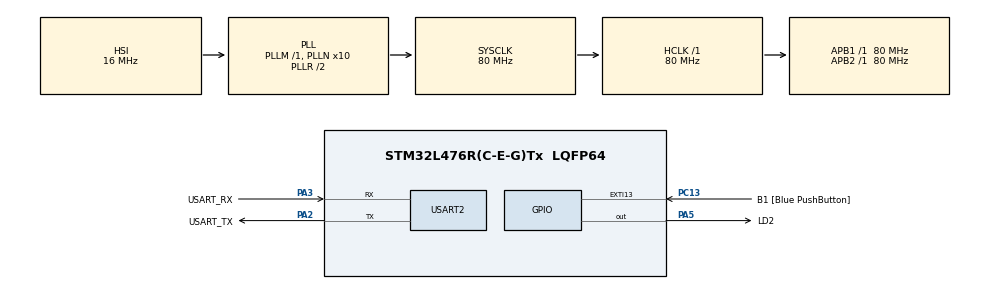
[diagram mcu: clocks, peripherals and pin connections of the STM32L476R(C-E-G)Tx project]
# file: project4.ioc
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Mcu.Family=STM32L4
Mcu.Name=STM32L476R(C-E-G)Tx
Mcu.Package=LQFP64
NVIC.PriorityGroup=NVIC_PRIORITYGROUP_4
PA13\ (JTMS-SWDIO).GPIO_Label=TMS
PA13\ (JTMS-SWDIO).Mode=Serial_Wire
PA13\ (JTMS-SWDIO).Signal=SYS_JTMS-SWDIO
PA14\ (JTCK-SWCLK).GPIO_Label=TCK
PA14\ (JTCK-SWCLK).Mode=Serial_Wire
PA14\ (JTCK-SWCLK).Signal=SYS_JTCK-SWCLK
PA2.GPIO_Label=USART_TX
PA2.GPIO_Mode=GPIO_MODE_AF_PP
PA2.GPIO_PuPd=GPIO_NOPULL
PA2.GPIO_Speed=GPIO_SPEED_FREQ_VERY_HIGH
PA2.Mode=Asynchronous
PA2.Signal=USART2_TX
PA3.GPIO_Label=USART_RX
PA3.GPIO_Mode=GPIO_MODE_AF_PP
PA3.GPIO_PuPd=GPIO_NOPULL
PA3.GPIO_Speed=GPIO_SPEED_FREQ_VERY_HIGH
PA3.Mode=Asynchronous
PA3.Signal=USART2_RX
PA5.GPIO_Label=LD2
PA5.Signal=GPIO_Output
PB3\ (JTDO-TRACESWO).GPIO_Label=SWO
PB3\ (JTDO-TRACESWO).Signal=SYS_JTDO-SWO
PC13.GPIO_Label=B1 [Blue PushButton]
PC13.GPIO_ModeDefaultEXTI=GPIO_MODE_IT_FALLING
PC13.GPIO_PuPd=GPIO_NOPULL
PC13.Signal=GPXTI13
PC14-OSC32_IN\ (PC14).Mode=LSE-External-Oscillator
PC14-OSC32_IN\ (PC14).Signal=RCC_OSC32_IN
PC15-OSC32_OUT\ (PC15).Mode=LSE-External-Oscillator
PC15-OSC32_OUT\ (PC15).Signal=RCC_OSC32_OUT
PH0-OSC_IN\ (PH0).Signal=RCC_OSC_IN
PH1-OSC_OUT\ (PH1).Signal=RCC_OSC_OUT
ProjectManager.HeapSize=0x200
ProjectManager.StackSize=0x400
ProjectManager.TargetToolchain=STM32CubeIDE
RCC.ADCFreq_Value=64000000
RCC.AHBFreq_Value=80000000
RCC.APB1Freq_Value=80000000
RCC.APB1TimFreq_Value=80000000
RCC.APB2Freq_Value=80000000
RCC.APB2TimFreq_Value=80000000
RCC.CortexFreq_Value=80000000
RCC.HCLKFreq_Value=80000000
RCC.HSE_VALUE=8000000
RCC.HSI_VALUE=16000000
RCC.MSI_VALUE=4000000
RCC.PLLN=10
RCC.PLLSourceVirtual=RCC_PLLSOURCE_HSI
RCC.PREFETCH_ENABLE=1
RCC.SYSCLKFreq_VALUE=80000000
RCC.SYSCLKSource=RCC_SYSCLKSOURCE_PLLCLK
RCC.USBFreq_Value=64000000
RCC.VCOOutputFreq_Value=160000000
USART2.OverrunDisableParam=ADVFEATURE_OVERRUN_DISABLE
USART2.VirtualMode-Asynchronous=VM_ASYNC
board=NUCLEO-L476RG

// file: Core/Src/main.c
/* USER CODE BEGIN Header */
/**
  ******************************************************************************
  * @file           : main.c
  * @brief          : Main program body
  ******************************************************************************
  * @attention
  *
  * Copyright (c) 2024 STMicroelectronics.
  * All rights reserved.
  *
  * This software is licensed under terms that can be found in the LICENSE file
  * in the root directory of this software component.
  * If no LICENSE file comes with this software, it is provided AS-IS.
  *
  ******************************************************************************
  */
/* USER CODE END Header */
#include "main.h"

/* USER CODE BEGIN Includes */
#include <string.h>
#include <stdio.h>
/* USER CODE END Includes */

/* USER CODE BEGIN PD */

#define LINE_MAX_LENGTH	80

/* USER CODE END PD */

UART_HandleTypeDef huart2;

/* USER CODE BEGIN PV */
static char line_buffer[LINE_MAX_LENGTH + 1];
static uint32_t line_length;
/* USER CODE END PV */

void SystemClock_Config(void);
static void MX_GPIO_Init(void);
static void MX_USART2_UART_Init(void);
/* USER CODE BEGIN PFP */

extern int __io_putchar(int ch) __attribute__((weak));

/* USER CODE END PFP */

/* USER CODE BEGIN 0 */

int __io_putchar(int ch)
{
    HAL_UART_Transmit(&huart2, (uint8_t*)&ch, 1, HAL_MAX_DELAY);
    return 1;
}

void line_append(uint8_t value)
{
	if (value == '\r' || value == '\n') {
		// odebraliśmy znak końca linii
		if (line_length > 0) {
			// dodajemy 0 na końcu linii
			line_buffer[line_length] = '\0';
			// przetwarzamy dane
			if (strcmp(line_buffer, "on") == 0) {
				HAL_GPIO_WritePin(LD2_GPIO_Port, LD2_Pin, GPIO_PIN_SET);
			} else if (strcmp(line_buffer, "off") == 0) {
				HAL_GPIO_WritePin(LD2_GPIO_Port, LD2_Pin, GPIO_PIN_RESET);
			} else {
				printf("Nieznane polecenie: %s\n", line_buffer);
			}
			// zaczynamy zbieranie danych od nowa
			line_length = 0;
		}
	}
	else {
		if (line_length >= LINE_MAX_LENGTH) {
			// za dużo danych, usuwamy wszystko co odebraliśmy dotychczas
			line_length = 0;
		}
		// dopisujemy wartość do bufora
		line_buffer[line_length++] = value;
	}
}

/* USER CODE END 0 */

int main(void)
{

  /* MCU Configuration--------------------------------------------------------*/

  /* Reset of all peripherals, Initializes the Flash interface and the Systick. */
  HAL_Init();

  /* Configure the system clock */
  SystemClock_Config();

  /* Initialize all configured peripherals */
  MX_GPIO_Init();
  MX_USART2_UART_Init();

  /* Infinite loop */
  /* USER CODE BEGIN WHILE */

  while (1)
  {
	  uint8_t value;
	 if (HAL_UART_Receive(&huart2, &value, 1, 0) == HAL_OK) {
	 	line_append(value);

	 }

	//printf("Hej %s! Co u Ciebie? %f\r\n", "FORBOT",3.14);
    /* USER CODE END WHILE */

  }
}

void SystemClock_Config(void)
{
  RCC_OscInitTypeDef RCC_OscInitStruct = {0};
  RCC_ClkInitTypeDef RCC_ClkInitStruct = {0};

  /** Configure the main internal regulator output voltage
  */
  if (HAL_PWREx_ControlVoltageScaling(PWR_REGULATOR_VOLTAGE_SCALE1) != HAL_OK)
  {
    Error_Handler();
  }

  /** Initializes the RCC Oscillators according to the specified parameters
  * in the RCC_OscInitTypeDef structure.
  */
  RCC_OscInitStruct.OscillatorType = RCC_OSCILLATORTYPE_HSI;
  RCC_OscInitStruct.HSIState = RCC_HSI_ON;
  RCC_OscInitStruct.HSICalibrationValue = RCC_HSICALIBRATION_DEFAULT;
  RCC_OscInitStruct.PLL.PLLState = RCC_PLL_ON;
  RCC_OscInitStruct.PLL.PLLSource = RCC_PLLSOURCE_HSI;
  RCC_OscInitStruct.PLL.PLLM = 1;
  RCC_OscInitStruct.PLL.PLLN = 10;
  RCC_OscInitStruct.PLL.PLLP = RCC_PLLP_DIV7;
  RCC_OscInitStruct.PLL.PLLQ = RCC_PLLQ_DIV2;
  RCC_OscInitStruct.PLL.PLLR = RCC_PLLR_DIV2;
  if (HAL_RCC_OscConfig(&RCC_OscInitStruct) != HAL_OK)
  {
    Error_Handler();
  }

  /** Initializes the CPU, AHB and APB buses clocks
  */
  RCC_ClkInitStruct.ClockType = RCC_CLOCKTYPE_HCLK|RCC_CLOCKTYPE_SYSCLK
                              |RCC_CLOCKTYPE_PCLK1|RCC_CLOCKTYPE_PCLK2;
  RCC_ClkInitStruct.SYSCLKSource = RCC_SYSCLKSOURCE_PLLCLK;
  RCC_ClkInitStruct.AHBCLKDivider = RCC_SYSCLK_DIV1;
  RCC_ClkInitStruct.APB1CLKDivider = RCC_HCLK_DIV1;
  RCC_ClkInitStruct.APB2CLKDivider = RCC_HCLK_DIV1;

  if (HAL_RCC_ClockConfig(&RCC_ClkInitStruct, FLASH_LATENCY_4) != HAL_OK)
  {
    Error_Handler();
  }
}

static void MX_USART2_UART_Init(void)
{

  huart2.Instance = USART2;
  huart2.Init.BaudRate = 115200;
  huart2.Init.WordLength = UART_WORDLENGTH_8B;
  huart2.Init.StopBits = UART_STOPBITS_1;
  huart2.Init.Parity = UART_PARITY_NONE;
  huart2.Init.Mode = UART_MODE_TX_RX;
  huart2.Init.HwFlowCtl = UART_HWCONTROL_NONE;
  huart2.Init.OverSampling = UART_OVERSAMPLING_16;
  huart2.Init.OneBitSampling = UART_ONE_BIT_SAMPLE_DISABLE;
  huart2.AdvancedInit.AdvFeatureInit = UART_ADVFEATURE_RXOVERRUNDISABLE_INIT;
  huart2.AdvancedInit.OverrunDisable = UART_ADVFEATURE_OVERRUN_DISABLE;
  if (HAL_UART_Init(&huart2) != HAL_OK)
  {
    Error_Handler();
  }

}

static void MX_GPIO_Init(void)
{
  GPIO_InitTypeDef GPIO_InitStruct = {0};

  /* GPIO Ports Clock Enable */
  __HAL_RCC_GPIOC_CLK_ENABLE();
  __HAL_RCC_GPIOH_CLK_ENABLE();
  __HAL_RCC_GPIOA_CLK_ENABLE();
  __HAL_RCC_GPIOB_CLK_ENABLE();

  /*Configure GPIO pin Output Level */
  HAL_GPIO_WritePin(LD2_GPIO_Port, LD2_Pin, GPIO_PIN_RESET);

  /*Configure GPIO pin : B1_Pin */
  GPIO_InitStruct.Pin = B1_Pin;
  GPIO_InitStruct.Mode = GPIO_MODE_IT_FALLING;
  GPIO_InitStruct.Pull = GPIO_NOPULL;
  HAL_GPIO_Init(B1_GPIO_Port, &GPIO_InitStruct);

  /*Configure GPIO pin : LD2_Pin */
  GPIO_InitStruct.Pin = LD2_Pin;
  GPIO_InitStruct.Mode = GPIO_MODE_OUTPUT_PP;
  GPIO_InitStruct.Pull = GPIO_NOPULL;
  GPIO_InitStruct.Speed = GPIO_SPEED_FREQ_LOW;
  HAL_GPIO_Init(LD2_GPIO_Port, &GPIO_InitStruct);

}

void Error_Handler(void)
{
  __disable_irq();
  while (1)
  {
  }
}
